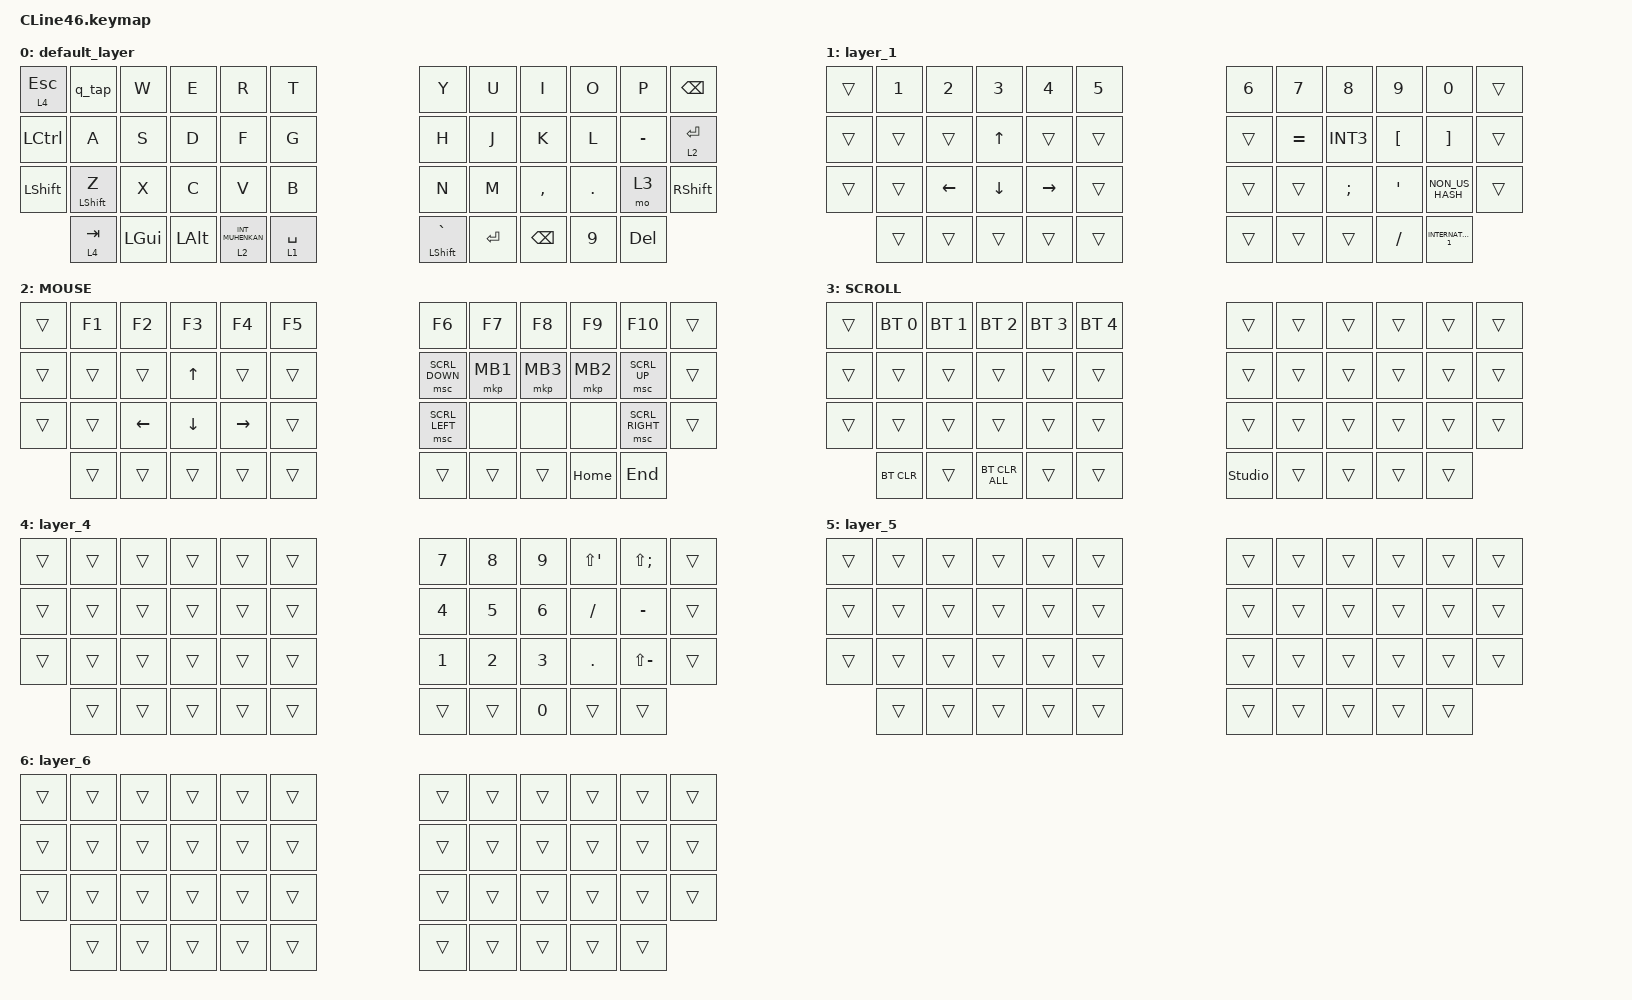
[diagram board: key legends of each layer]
#include <input/processors.dtsi>
#include <dt-bindings/zmk/input_transform.h>
#include <zephyr/dt-bindings/input/input-event-codes.h>
#include <behaviors/runtime_macro.dtsi>
#include <behaviors.dtsi>
#include <dt-bindings/zmk/bt.h>
#include <dt-bindings/zmk/keys.h>
#include <dt-bindings/zmk/pointing.h>

&mt {
    flavor = "balanced";
    quick-tap-ms = <0>;
};

/ {
    combos {
        compatible = "zmk,combos";

        tab {
            bindings = <&kp TAB>;
            key-positions = <14 15>;
            layers = <0>;
        };

        shift_tab {
            bindings = <&kp LS(TAB)>;
            key-positions = <26 27>;
            layers = <0>;
        };
    };

    macros {
        to_layer_0: to_layer_0 {
            compatible = "zmk,behavior-macro-one-param";
            #binding-cells = <1>;
            bindings = <&to 0 &macro_param_1to1 &kp MACRO_PLACEHOLDER>;
            label = "TO_LAYER_0";
        };
    };

    behaviors {
        lt_to_layer_0: lt_to_layer_0 {
            compatible = "zmk,behavior-hold-tap";
            label = "LAYER_TAP_TO_0";
            bindings = <&mo>, <&to_layer_0>;

            #binding-cells = <2>;
            tapping-term-ms = <200>;
        };

        q_tap: q_tap {
            compatible = "zmk,behavior-tap-dance";
            label = "×2→Esc";
            #binding-cells = <0>;
            bindings = <&kp Q>, <&kp ESCAPE>;
        };
    };

    keymap {
        compatible = "zmk,keymap";

        default_layer {
            bindings = <
&lt 4 ESCAPE  &q_tap            &kp W     &kp E     &kp R               &kp T                                         &kp Y     &kp U  &kp I      &kp O         &kp P      &kp BACKSPACE
&kp LCTRL     &kp A             &kp S     &kp D     &kp F               &kp G                                         &kp H     &kp J  &kp K      &kp L         &kp MINUS  &lt 2 ENTER
&kp LSHIFT    &mt LEFT_SHIFT Z  &kp X     &kp C     &kp V               &kp B                                         &kp N     &kp M  &kp COMMA  &kp DOT       &mo 3      &kp RSHIFT
              &lt 4 TAB         &kp LGUI  &kp LALT  &lt 2 INT_MUHENKAN  &lt 1 SPACE  &mt LEFT_SHIFT GRAVE    &kp RET  &kp BSPC                    &kp NUMBER_9  &kp DEL
            >;
        };

        layer_1 {
            bindings = <
&trans  &kp NUMBER_1  &kp NUMBER_2    &kp NUMBER_3    &kp NUMBER_4     &kp NUMBER_5                    &kp NUMBER_6  &kp NUMBER_7  &kp NUMBER_8   &kp NUMBER_9      &kp NUMBER_0         &trans
&trans  &trans        &trans          &kp UP_ARROW    &trans           &trans                          &trans        &kp EQUAL     &kp INT3       &kp LEFT_BRACKET  &kp RIGHT_BRACKET    &trans
&trans  &trans        &kp LEFT_ARROW  &kp DOWN_ARROW  &kp RIGHT_ARROW  &trans                          &trans        &trans        &kp SEMICOLON  &kp SINGLE_QUOTE  &kp NON_US_HASH      &trans
        &trans        &trans          &trans          &trans           &trans        &trans    &trans  &trans                                     &kp SLASH         &kp INTERNATIONAL_1
            >;
        };

        MOUSE {
            bindings = <
&trans  &kp F1  &kp F2          &kp F3          &kp F4           &kp F5                    &kp F6          &kp F7    &kp F8    &kp F9    &kp F10          &trans
&trans  &trans  &trans          &kp UP_ARROW    &trans           &trans                    &msc SCRL_DOWN  &mkp MB1  &mkp MB3  &mkp MB2  &msc SCRL_UP     &trans
&trans  &trans  &kp LEFT_ARROW  &kp DOWN_ARROW  &kp RIGHT_ARROW  &trans                    &msc SCRL_LEFT  &none     &none     &none     &msc SCRL_RIGHT  &trans
        &trans  &trans          &trans          &trans           &trans  &trans    &trans  &trans                              &kp HOME  &kp END
            >;
        };

        SCROLL {
            bindings = <
&trans  &bt BT_SEL 0  &bt BT_SEL 1  &bt BT_SEL 2    &bt BT_SEL 3  &bt BT_SEL 4                            &trans  &trans  &trans  &trans  &trans  &trans
&trans  &trans        &trans        &trans          &trans        &trans                                  &trans  &trans  &trans  &trans  &trans  &trans
&trans  &trans        &trans        &trans          &trans        &trans                                  &trans  &trans  &trans  &trans  &trans  &trans
        &bt BT_CLR    &trans        &bt BT_CLR_ALL  &trans        &trans        &studio_unlock    &trans  &trans                  &trans  &trans
            >;
        };

        layer_4 {
            bindings = <
&trans  &trans  &trans  &trans  &trans  &trans                    &kp NUMBER_7  &kp NUMBER_8  &kp NUMBER_9  &kp LS(SINGLE_QUOTE)  &kp LS(SEMICOLON)  &trans
&trans  &trans  &trans  &trans  &trans  &trans                    &kp NUMBER_4  &kp NUMBER_5  &kp NUMBER_6  &kp SLASH             &kp MINUS          &trans
&trans  &trans  &trans  &trans  &trans  &trans                    &kp NUMBER_1  &kp NUMBER_2  &kp NUMBER_3  &kp PERIOD            &kp LS(MINUS)      &trans
        &trans  &trans  &trans  &trans  &trans  &trans    &trans  &kp NUMBER_0                              &trans                &trans
            >;
        };

        layer_5 {
            bindings = <
&trans  &trans  &trans  &trans  &trans  &trans                    &trans  &trans  &trans  &trans  &trans  &trans
&trans  &trans  &trans  &trans  &trans  &trans                    &trans  &trans  &trans  &trans  &trans  &trans
&trans  &trans  &trans  &trans  &trans  &trans                    &trans  &trans  &trans  &trans  &trans  &trans
        &trans  &trans  &trans  &trans  &trans  &trans    &trans  &trans                  &trans  &trans
            >;
        };

        layer_6 {
            bindings = <
&trans  &trans  &trans  &trans  &trans  &trans                    &trans  &trans  &trans  &trans  &trans  &trans
&trans  &trans  &trans  &trans  &trans  &trans                    &trans  &trans  &trans  &trans  &trans  &trans
&trans  &trans  &trans  &trans  &trans  &trans                    &trans  &trans  &trans  &trans  &trans  &trans
        &trans  &trans  &trans  &trans  &trans  &trans    &trans  &trans                  &trans  &trans
            >;
        };
    };
};
